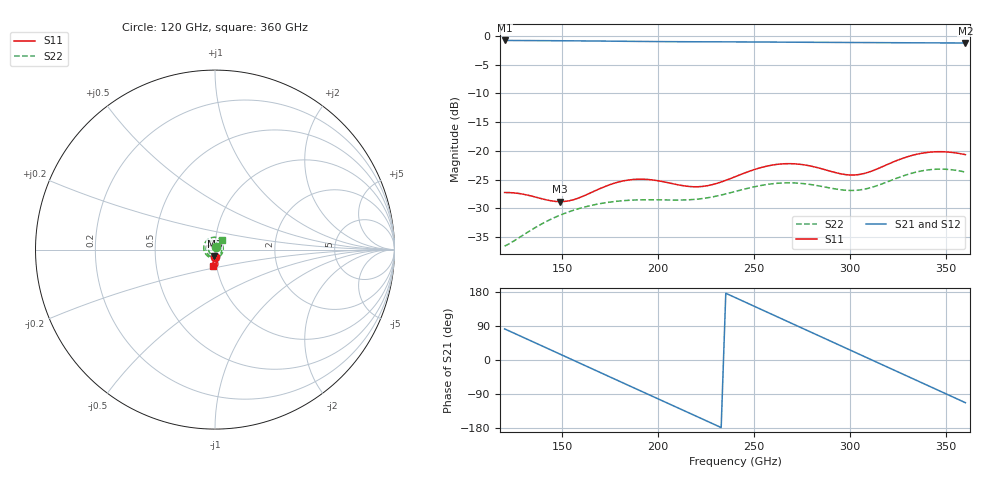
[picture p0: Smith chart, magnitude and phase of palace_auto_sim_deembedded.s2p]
! Created with skrf 1.11.0 (http://scikit-rf.org).
# GHz S DB R 50.0
!freq dBS11 angS11 dBS21 angS21 dBS12 angS12 dBS22 angS22
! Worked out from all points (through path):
!   101 points, 120 GHz to 360 GHz, reference 50 ohm
!   highest |S21| = -0.75 dB at 120 GHz (marker M1); lowest = -1.2 dB at 360 GHz (marker M2)
!   group delay of S21, straight-line fit = 6.42 ps
!   lowest |S11| = -28.9 dB at 148.8 GHz (marker M3), VSWR 1.07, Z = 49.6 - j3.57 ohm
!   |S11| at or under -10 dB: start of sweep to end of sweep
!   |S22| runs from -36.6 to -23.2 dB; largest |S21 - S12| = 1e-13
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120  -27.27 -93.4  -0.75 82.1  -0.75 82.1  -36.62 75.2
134.4  -27.91 -100.9  -0.78 48.9  -0.78 48.9  -33.69 0.3
148.8  -28.86 -94.9  -0.80 15.6  -0.80 15.6  -31.22 -63.5
160.8  -27.91 -85.2  -0.83 -12.2  -0.83 -12.2  -29.87 -114.3
170.4  -26.47 -83.9  -0.86 -34.4  -0.86 -34.4  -29.16 -154.8
182.4  -25.20 -89.1  -0.90 -62.1  -0.90 -62.1  -28.67 153.9
192  -24.94 -94.8  -0.93 -84.2  -0.93 -84.2  -28.53 111.8
201.6  -25.31 -98.5  -0.95 -106.4  -0.95 -106.4  -28.55 68.0
211.2  -25.97 -97.6  -0.97 -128.5  -0.97 -128.5  -28.57 22.1
223.2  -26.20 -89.8  -0.99 -156.1  -0.99 -156.1  -28.31 -37.8
240  -24.51 -81.3  -1.00 165.0  -1.00 165.0  -27.09 -120.0
249.6  -23.31 -82.6  -1.02 142.8  -1.02 142.8  -26.30 -163.5
261.6  -22.37 -88.5  -1.04 115.0  -1.04 115.0  -25.66 145.0
271.2  -22.26 -94.2  -1.06 92.8  -1.06 92.8  -25.60 104.5
280.8  -22.75 -98.2  -1.08 70.6  -1.08 70.6  -25.94 62.7
290.4  -23.62 -97.9  -1.09 48.4  -1.09 48.4  -26.53 17.6
302.4  -24.20 -88.9  -1.11 20.6  -1.11 20.6  -26.89 -44.8
312  -23.43 -80.7  -1.13 -1.6  -1.13 -1.6  -26.29 -96.0
321.6  -22.05 -78.2  -1.14 -23.8  -1.14 -23.8  -25.11 -143.5
340.8  -20.25 -86.2  -1.17 -68.2  -1.17 -68.2  -23.31 133.6
350.4  -20.19 -91.8  -1.18 -90.4  -1.18 -90.4  -23.22 94.3
360  -20.66 -95.6  -1.19 -112.6  -1.19 -112.6  -23.71 53.5
